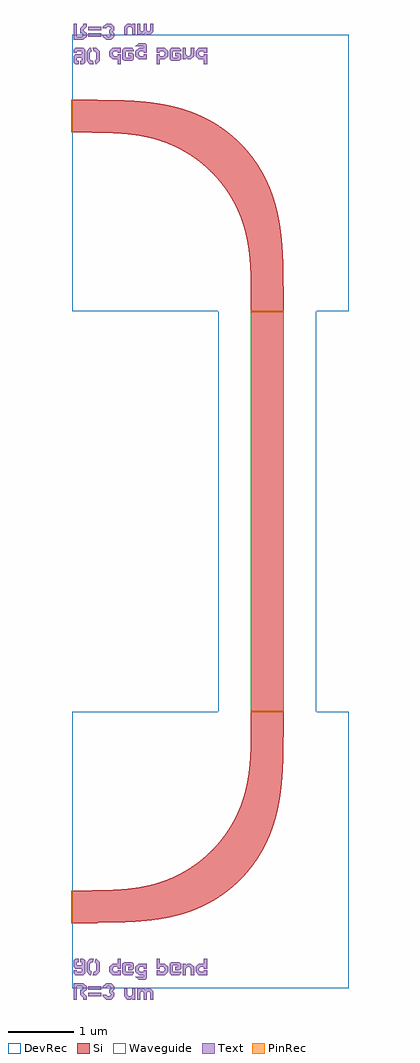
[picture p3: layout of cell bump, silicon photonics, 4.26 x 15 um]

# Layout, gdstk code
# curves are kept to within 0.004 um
import gdstk
lib = gdstk.Library(unit=1e-6, precision=1e-09)
def R(c, l, rs):  # rectangles x0, y0, x1, y1
    for r in rs: c.add(gdstk.rectangle(r[:2], r[2:], *l))
def P(c, l, *ps):  # polygons
    for p in ps: c.add(gdstk.Polygon(p, *l))
Si = (1, 0)
PinRec = (1, 10)
Waveguide = (1, 99)
Text = (10, 0)
DevRec = (68, 0)

text_gdsfactorypcomponen = lib.new_cell('text_gdsfactorypcomponentsptextsptext_T90_deg_bend*R3_u_a4dcf2a8')
R(text_gdsfactorypcomponen, Text, [(0.25,-0.325,0.45,-0.275), (0.25,-0.225,0.45,-0.175)])
P(text_gdsfactorypcomponen, Text, [(0.85,-0.375),(0.8,-0.325),(0.8,-0.2),(0.85,-0.2),(0.85,-0.3),(0.875,-0.325),(0.9,-0.325),(0.925,-0.3),(0.925,-0.2),(0.975,-0.2),(0.975,-0.375),(0.925,-0.375),(0.925,-0.35),(0.9,-0.375)],
  [(1,-0.375),(1,-0.2),(1.05,-0.2),(1.05,-0.225),(1.075,-0.2),(1.1,-0.2),(1.125,-0.225),(1.15,-0.2),(1.2,-0.2),(1.25,-0.25),(1.25,-0.375),(1.2,-0.375),(1.2,-0.275),(1.175,-0.25),(1.15,-0.275),(1.15,-0.375),(1.1,-0.375),(1.1,-0.275),(1.075,-0.25),(1.05,-0.275),(1.05,-0.375)],
  [(0.8,0),(0.775,0.025),(0.775,0.175),(0.8,0.2),(0.925,0.2),(0.95,0.175),(0.95,0.1),(0.925,0.075),(0.86,0.075),(0.86,0.125),(0.9,0.125),(0.9,0.15),(0.825,0.15),(0.825,0.05),(0.95,0.05),(0.95,0.025),(0.925,0)],
  [(1.525,0),(1.5,0.025),(1.5,0.175),(1.525,0.2),(1.65,0.2),(1.675,0.175),(1.675,0.1),(1.65,0.075),(1.585,0.075),(1.585,0.125),(1.625,0.125),(1.625,0.15),(1.55,0.15),(1.55,0.05),(1.675,0.05),(1.675,0.025),(1.65,0)],
  [(0.05,0),(0.025,0.025),(0.025,0.075),(0.075,0.075),(0.075,0.05),(0.15,0.05),(0.15,0.1),(0.05,0.1),(0.025,0.125),(0.025,0.225),(0.05,0.25),(0.1,0.25),(0.1,0.2),(0.075,0.2),(0.075,0.15),(0.15,0.15),(0.15,0.2),(0.125,0.2),(0.125,0.25),(0.175,0.25),(0.2,0.225),(0.2,0.025),(0.175,0)],
  [(0.275,0),(0.225,0.05),(0.225,0.2),(0.275,0.25),(0.333,0.25),(0.32,0.2),(0.3,0.2),(0.275,0.175),(0.275,0.075),(0.3,0.05),(0.288,0)],
  [(0.025,-0.375),(0.025,-0.125),(0.175,-0.125),(0.225,-0.175),(0.225,-0.225),(0.175,-0.275),(0.225,-0.325),(0.225,-0.375),(0.175,-0.375),(0.175,-0.35),(0.125,-0.3),(0.125,-0.225),(0.15,-0.225),(0.175,-0.2),(0.15,-0.175),(0.075,-0.175),(0.075,-0.375)],
  [(1.7,0),(1.7,0.175),(1.75,0.175),(1.75,0.15),(1.775,0.175),(1.825,0.175),(1.875,0.125),(1.875,0),(1.825,0),(1.825,0.1),(1.8,0.125),(1.775,0.125),(1.75,0.1),(1.75,0)],
  [(0.525,-0.375),(0.475,-0.325),(0.475,-0.3),(0.525,-0.3),(0.55,-0.325),(0.575,-0.325),(0.6,-0.3),(0.575,-0.275),(0.575,-0.225),(0.6,-0.2),(0.575,-0.175),(0.55,-0.175),(0.525,-0.2),(0.475,-0.2),(0.475,-0.175),(0.525,-0.125),(0.6,-0.125),(0.65,-0.175),(0.65,-0.225),(0.625,-0.25),(0.65,-0.275),(0.65,-0.325),(0.6,-0.375)],
  [(1.025,-0.075),(0.975,-0.025),(1.1,-0.025),(1.1,0),(1.033,0),(0.975,0.05),(0.975,0.125),(1.025,0.175),(1.15,0.175),(1.15,0.1),(1.1,0.1),(1.1,0.125),(1.05,0.125),(1.025,0.1),(1.025,0.075),(1.05,0.05),(1.1,0.05),(1.1,0.075),(1.15,0.075),(1.15,-0.05),(1.125,-0.075)],
  [(0.318,0),(0.33,0.05),(0.35,0.05),(0.375,0.075),(0.375,0.175),(0.35,0.2),(0.363,0.25),(0.375,0.25),(0.425,0.2),(0.425,0.05),(0.375,0)],
  [(1.3,0),(1.3,0.075),(1.35,0.075),(1.35,0.05),(1.4,0.05),(1.425,0.075),(1.425,0.1),(1.4,0.125),(1.35,0.125),(1.35,0.1),(1.3,0.1),(1.3,0.25),(1.35,0.25),(1.35,0.175),(1.425,0.175),(1.475,0.125),(1.475,0.05),(1.425,0)],
  [(0.625,0),(0.575,0.05),(0.575,0.125),(0.625,0.175),(0.7,0.175),(0.7,0.25),(0.75,0.25),(0.75,0.1),(0.7,0.1),(0.7,0.125),(0.65,0.125),(0.625,0.1),(0.625,0.075),(0.65,0.05),(0.7,0.05),(0.7,0.075),(0.75,0.075),(0.75,0)],
  [(1.95,0),(1.9,0.05),(1.9,0.125),(1.95,0.175),(2.025,0.175),(2.025,0.25),(2.075,0.25),(2.075,0.1),(2.025,0.1),(2.025,0.125),(1.975,0.125),(1.95,0.1),(1.95,0.075),(1.975,0.05),(2.025,0.05),(2.025,0.075),(2.075,0.075),(2.075,0)])

topic_vw_90deg_r3 = lib.new_cell('TOPIC_VW_90deg_R3')
P(topic_vw_90deg_r3, Si, [(0,-0.25),(0,0.25),(0.473,0.252),(0.79,0.267),(1.053,0.3),(1.282,0.352),(1.39,0.386),(1.534,0.442),(1.741,0.547),(1.952,0.689),(2.133,0.847),(2.246,0.968),(2.311,1.048),(2.453,1.259),(2.558,1.466),(2.644,1.704),(2.7,1.947),(2.733,2.21),(2.748,2.527),(2.75,3),(3.25,3),(3.248,2.417),(3.235,2.06),(3.199,1.708),(3.143,1.423),(3.099,1.269),(3.05,1.131),(2.992,0.997),(2.929,0.874),(2.853,0.748),(2.775,0.637),(2.684,0.524),(2.603,0.436),(2.503,0.34),(2.392,0.247),(2.252,0.147),(2.126,0.071),(2.003,0.008),(1.869,-0.05),(1.731,-0.099),(1.604,-0.136),(1.448,-0.172),(1.292,-0.199),(0.94,-0.235),(0.583,-0.248)])
R(topic_vw_90deg_r3, DevRec, [(0,-1.25,4.25,3)])
topic_vw_90deg_r3.add(gdstk.FlexPath([(0.01,0),(-0.01,0)], 0.5, ends="flush", simple_path=True, layer=1, datatype=10))  # PinRec
topic_vw_90deg_r3.add(gdstk.FlexPath([(3,2.99),(3,3.01)], 0.5, ends="flush", simple_path=True, layer=1, datatype=10))  # PinRec
topic_vw_90deg_r3.add(gdstk.Reference(text_gdsfactorypcomponen, (0,-1.05)))
topic_vw_90deg_r3.add(gdstk.Label('opt1', (0,0), layer=1, texttype=10))
topic_vw_90deg_r3.add(gdstk.Label('opt2', (3,3), layer=1, texttype=10))

waveguide = lib.new_cell('Waveguide')
R(waveguide, Si, [(2.76,4.425,3.26,10.575)])
R(waveguide, Waveguide, [(2.76,4.425,3.26,10.575)])
R(waveguide, DevRec, [(2.26,4.425,3.76,10.575)])
waveguide.add(gdstk.FlexPath([(3.01,10.565),(3.01,10.585)], 0.5, ends="flush", simple_path=True, layer=1, datatype=10))  # PinRec
waveguide.add(gdstk.FlexPath([(3.01,4.435),(3.01,4.415)], 0.5, ends="flush", simple_path=True, layer=1, datatype=10))  # PinRec
waveguide.add(gdstk.Label('opt1', (3.01,10.575), layer=1, texttype=10))
waveguide.add(gdstk.Label('opt2', (3.01,4.425), layer=1, texttype=10))
waveguide.add(gdstk.Label('Lumerical_INTERCONNECT_library=Design kits/EBeam', (2.91,10.575), layer=68, texttype=0))
waveguide.add(gdstk.Label('cellName=Waveguide', (3.21,10.575), layer=68, texttype=0))
waveguide.add(gdstk.Label('Length=6.150 (microns)', (2.41,10.575), layer=68, texttype=0))
waveguide.add(gdstk.Label('Component=ebeam_wg_integral_1550', (3.11,10.575), layer=68, texttype=0))
waveguide.add(gdstk.Label('Spice_param:wg_length=0.000006150 wg_width=5e-07 points="[[3.01,10.575],[3.01,4.425]]" radius=5e-06', (3.01,10.575), layer=68, texttype=0))
waveguide.add(gdstk.Label('waveguide_type=Strip TE 1550 nm, w=500 nm', (2.81,10.575), layer=68, texttype=0))

bump = lib.new_cell('bump')
bump.add(gdstk.Reference(topic_vw_90deg_r3, (0.01,13.575), x_reflection=True))
bump.add(gdstk.Reference(topic_vw_90deg_r3, (0.01,1.425)))
bump.add(gdstk.Reference(waveguide, (0,0)))

lib.write_gds('bump.gds')
